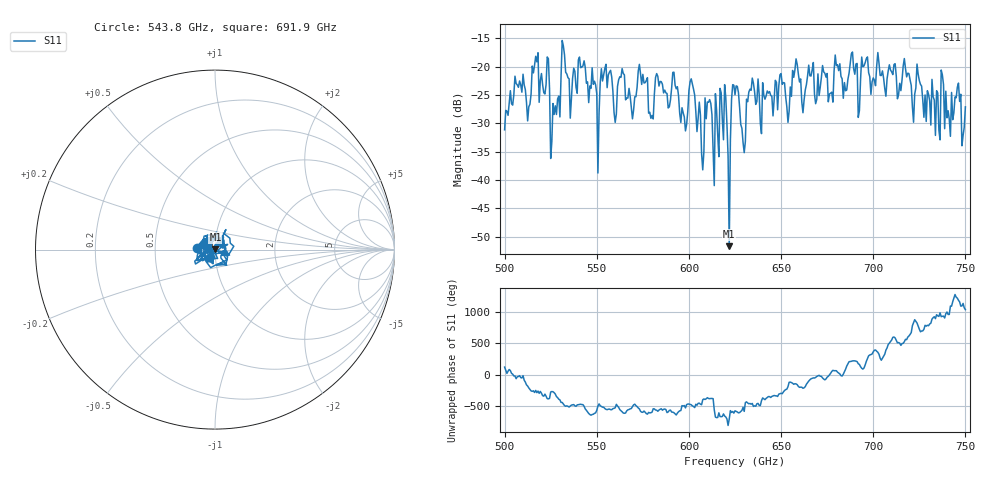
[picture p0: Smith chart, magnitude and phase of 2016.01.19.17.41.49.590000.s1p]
!Created with skrf (http://scikit-rf.org).
# GHz S RI R 50.0
!freq ReS11 ImS11
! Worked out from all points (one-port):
!   401 points, 500 GHz to 750 GHz, reference 50 ohm
!   lowest |S11| = -51.7 dB at 621.9 GHz (marker M1), VSWR 1.01, Z = 50.3 + j0.0606 ohm
!   |S11| at or under -10 dB: start of sweep to end of sweep
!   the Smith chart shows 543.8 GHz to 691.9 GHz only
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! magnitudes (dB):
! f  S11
! 500 GHz  -31.1
! 506.9 GHz  -23.2
! 513.1 GHz  -27.1
! 516.9 GHz  -18.2
! 523.1 GHz  -18.3
! 526.2 GHz  -26.5
! 531.2 GHz  -15.4
! 550.6 GHz  -38.8
! 553.8 GHz  -21.4
! 560 GHz  -29.8
! 562.5 GHz  -21.8
! 570 GHz  -27.6
! 573.8 GHz  -21.2
! 579.4 GHz  -29.1
! 583.1 GHz  -21.7
! 593.8 GHz  -23.5
! 598.1 GHz  -31.3
! 601.9 GHz  -23.0
! 606.9 GHz  -35.3
! 618.1 GHz  -29.3
! 621.9 GHz  -51.7
! 625 GHz  -24.9
! 629.4 GHz  -33.4
! 633.8 GHz  -24.2
! 656.2 GHz  -20.7
! 687.5 GHz  -19.5
! 718.8 GHz  -21.1
! 750 GHz  -27.1
